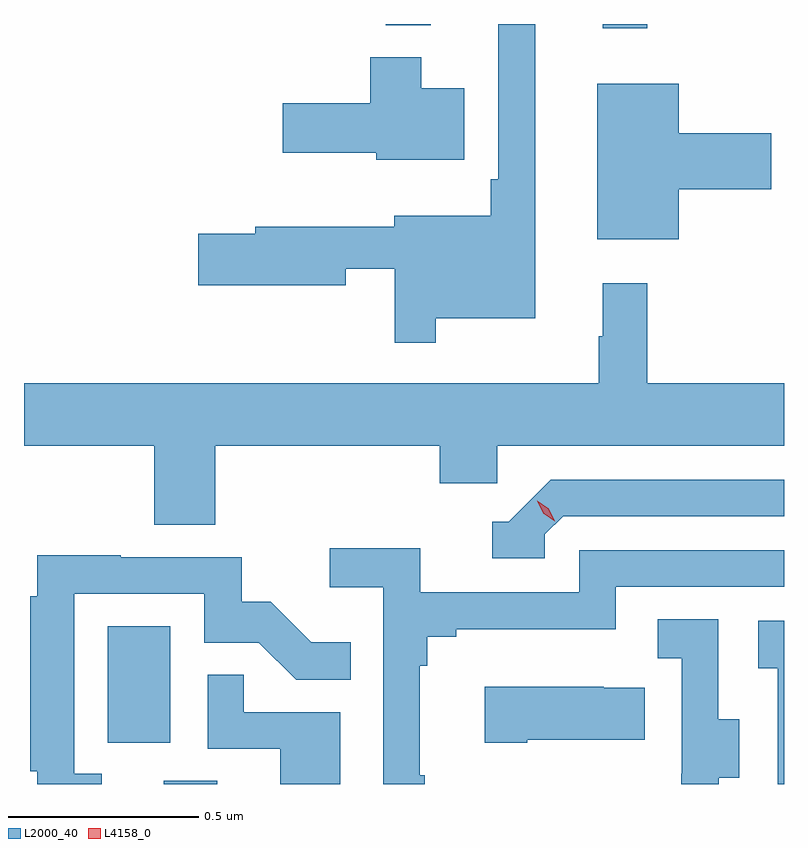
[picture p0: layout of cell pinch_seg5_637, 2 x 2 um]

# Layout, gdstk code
import gdstk
lib = gdstk.Library(unit=1e-6, precision=1e-09)
def R(c, l, rs):  # rectangles x0, y0, x1, y1
    for r in rs: c.add(gdstk.rectangle(r[:2], r[2:], *l))
def P(c, l, *ps):  # polygons
    for p in ps: c.add(gdstk.Polygon(p, *l))
L2000_40 = (2000, 40)
L4158_0 = (4158, 0)

pinch_seg5_637 = lib.new_cell('pinch_seg5_637')
R(pinch_seg5_637, L2000_40, [(1040.813,870.522,1040.953,870.53), (1040.666,870.63,1040.83,870.937), (1041.968,872.511,1042.085,872.522), (1041.397,872.519,1041.515,872.522)])
P(pinch_seg5_637, L2000_40, [(1041.529,871.748),(1041.79,871.748),(1041.79,872.522),(1041.693,872.522),(1041.693,872.113),(1041.673,872.113),(1041.673,872.017),(1041.419,872.017),(1041.419,871.988),(1041.053,871.988),(1041.053,871.97),(1040.904,871.97),(1040.904,871.835),(1041.292,871.835),(1041.292,871.878),(1041.42,871.878),(1041.42,871.683),(1041.529,871.683)],
  [(1041.604,872.353),(1041.49,872.353),(1041.49,872.434),(1041.356,872.434),(1041.356,872.313),(1041.126,872.313),(1041.126,872.183),(1041.372,872.183),(1041.372,872.165),(1041.604,872.165)],
  [(1042.168,872.087),(1042.411,872.087),(1042.411,872.234),(1042.168,872.234),(1042.168,872.365),(1041.953,872.365),(1041.953,871.955),(1042.168,871.955)],
  [(1040.948,871.412),(1041.539,871.412),(1041.539,871.314),(1041.69,871.314),(1041.69,871.412),(1042.445,871.412),(1042.445,871.576),(1042.085,871.576),(1042.085,871.84),(1041.968,871.84),(1041.968,871.7),(1041.957,871.7),(1041.957,871.576),(1040.445,871.576),(1040.445,871.412),(1040.788,871.412),(1040.788,871.204),(1040.948,871.204)],
  [(1041.816,871.179),(1041.864,871.227),(1042.445,871.227),(1042.445,871.323),(1041.831,871.323),(1041.72,871.212),(1041.677,871.212),(1041.677,871.116),(1041.816,871.116)],
  [(1041.499,870.545),(1041.487,870.545),(1041.487,870.833),(1041.506,870.833),(1041.506,870.91),(1041.583,870.91),(1041.583,870.929),(1042.002,870.929),(1042.002,871.041),(1042.445,871.041),(1042.445,871.137),(1041.906,871.137),(1041.906,871.026),(1041.488,871.026),(1041.488,871.142),(1041.249,871.142),(1041.249,871.04),(1041.39,871.04),(1041.39,870.522),(1041.499,870.522)],
  [(1040.65,870.549),(1040.577,870.549),(1040.577,871.023),(1040.919,871.023),(1040.919,870.894),(1041.063,870.894),(1041.161,870.796),(1041.305,870.796),(1041.305,870.895),(1041.201,870.895),(1041.094,871.002),(1041.018,871.002),(1041.018,871.119),(1040.699,871.119),(1040.699,871.124),(1040.48,871.124),(1040.48,871.016),(1040.461,871.016),(1040.461,870.556),(1040.48,870.556),(1040.48,870.522),(1040.65,870.522)],
  [(1042.273,870.538),(1042.327,870.538),(1042.327,870.693),(1042.272,870.693),(1042.272,870.956),(1042.113,870.956),(1042.113,870.853),(1042.176,870.853),(1042.176,870.549),(1042.175,870.549),(1042.175,870.522),(1042.273,870.522)],
  [(1042.445,870.951),(1042.377,870.951),(1042.377,870.827),(1042.428,870.827),(1042.428,870.522),(1042.445,870.522)],
  [(1041.277,870.711),(1041.023,870.711),(1041.023,870.809),(1040.928,870.809),(1040.928,870.615),(1041.119,870.615),(1041.119,870.522),(1041.277,870.522)],
  [(1041.769,870.638),(1042.079,870.638),(1042.079,870.775),(1041.971,870.775),(1041.971,870.778),(1041.657,870.778),(1041.657,870.631),(1041.769,870.631)])
P(pinch_seg5_637, L4158_0, [(1041.842,871.214),(1041.811,871.234),(1041.795,871.267),(1041.795,871.267),(1041.795,871.267),(1041.826,871.247),(1041.842,871.215),(1041.842,871.214)])

lib.write_gds('pinch_seg5_637.gds')
